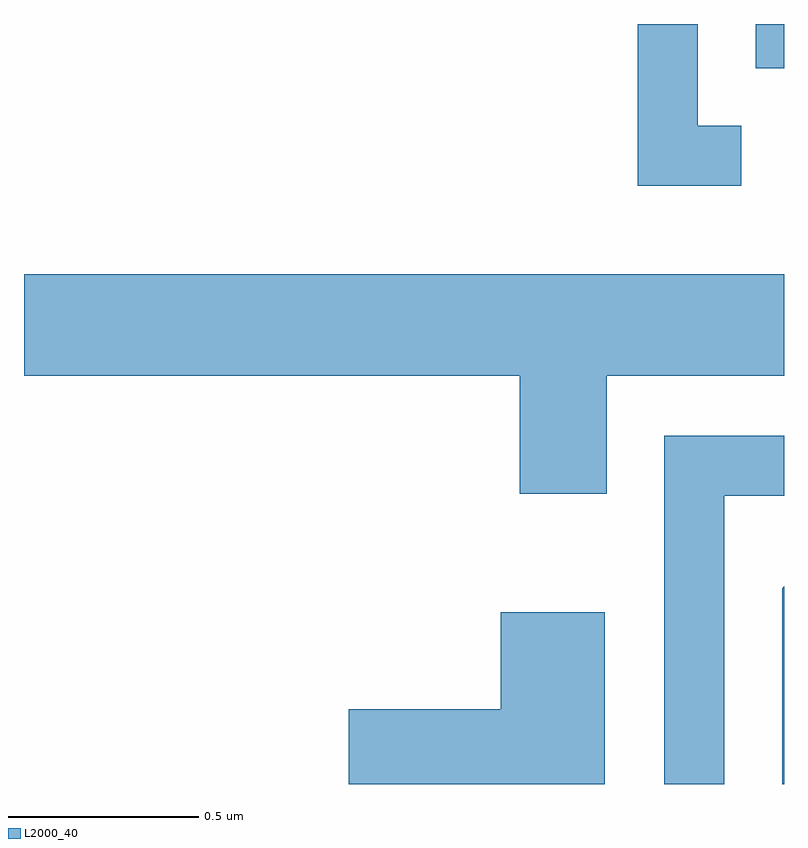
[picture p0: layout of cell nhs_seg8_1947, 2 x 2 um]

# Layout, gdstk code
import gdstk
lib = gdstk.Library(unit=1e-6, precision=1e-09)
def R(c, l, rs):  # rectangles x0, y0, x1, y1
    for r in rs: c.add(gdstk.rectangle(r[:2], r[2:], *l))
def P(c, l, *ps):  # polygons
    for p in ps: c.add(gdstk.Polygon(p, *l))
L2000_40 = (2000, 40)

nhs_seg8_1947 = lib.new_cell('nhs_seg8_1947')
R(nhs_seg8_1947, L2000_40, [(201.536,1837.226,201.611,1837.342)])
P(nhs_seg8_1947, L2000_40, [(201.498,1837.074),(201.384,1837.074),(201.384,1837.342),(201.226,1837.342),(201.226,1836.916),(201.498,1836.916)],
  [(201.144,1836.416),(201.611,1836.416),(201.611,1836.684),(199.611,1836.684),(199.611,1836.416),(200.916,1836.416),(200.916,1836.106),(201.144,1836.106)],
  [(201.454,1836.101),(201.611,1836.101),(201.611,1836.259),(201.296,1836.259),(201.296,1835.342),(201.454,1835.342)],
  [(201.611,1835.862),(201.606,1835.857),(201.606,1835.342),(201.611,1835.342)],
  [(201.139,1835.794),(200.866,1835.794),(200.866,1835.539),(200.466,1835.539),(200.466,1835.342),(201.139,1835.342)])

lib.write_gds('nhs_seg8_1947.gds')
